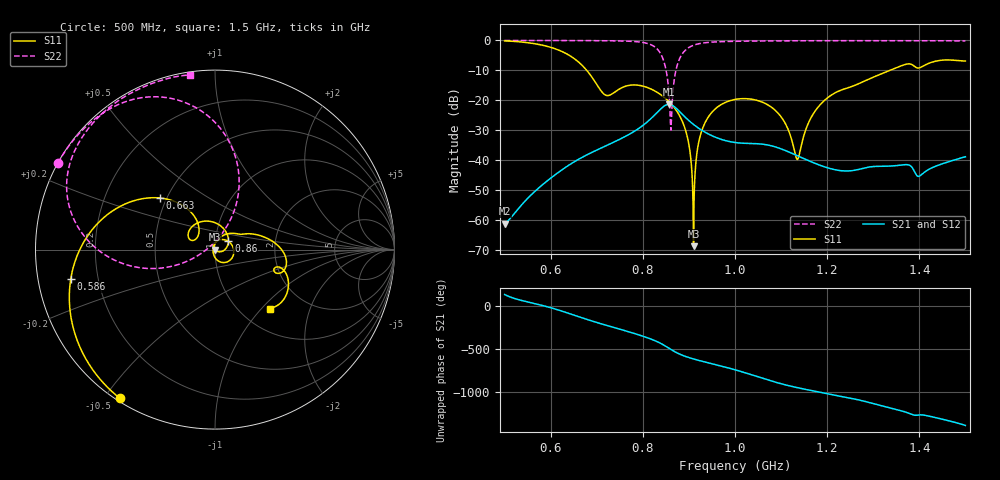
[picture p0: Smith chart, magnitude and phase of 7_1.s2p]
! TOUCHSTONE file generated by CST MICROWAVE STUDIO
! Date and time: Fri Oct  2 18:47:16 2020
! Project name: Scenario_1_Free_Space_out_of_line.cst
! Parameters = {Lambda=346.42; Step_1=17.321; dy1=243.594; dx1=173; L_HA=400; MT=2.54; Rad_Dielectric=30; Rad_Lower=7.3; Rad_Upper=30; a_HA=580; a_WG=246; b_HA=500; b_WG=121; c_HA=0; c_WG=187; d_feed=85; h_feed=15; h_lower=18; h_upper=40}
! Header version: 2018
! Port assignment regex: !\s*Touchstone port\s*([0-9]+)\s*=\s*(CST MWS port|CST DS port)\s*([0-9]+|Zmin|Zmax)\s*\(\"(.*)\"\)(\s*mode\s*([0-9]+))?.*
! Touchstone port assignment:
! Touchstone port 1 = CST MWS port 1 ("")
! Touchstone port 2 = CST MWS port 2 ("")
# GHz S DB R 50
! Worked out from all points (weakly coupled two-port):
!   1003 points, 500 MHz to 1.5 GHz, reference 50 ohm
!   highest |S21| = -21.36 dB at 856 MHz (marker M1); lowest = -61.1 dB at 500 MHz (marker M2)
!   lowest |S11| = -68.7 dB at 910 MHz (marker M3), VSWR 1.00, Z = 50 + j0.0268 ohm
!   |S11| at or under -10 dB: 678.2 MHz to 1.336 GHz (657.7 MHz wide, 65.3 % of centre)
!   |S22| runs from -30.0 to 0.0 dB; largest |S21 - S12| = 3.3e-05
!   S11 on the Smith chart (normalised r, x): 500 MHz: 0.01, -0.55; 586 MHz: 0.10, -0.10; 663 MHz: 0.46, +0.32; 860 MHz: 1.16, +0.12; 1.5 GHz: 1.35, -1.13
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0.5  -0.15 -122.6  -61.14 138.0  -61.14 138.0  -0.01 151.2
0.586  -1.73 -168.6  -47.71 4.7  -47.71 4.7  -0.01 145.2
0.663  -7.56 136.7  -39.48 -124.8  -39.48 -124.8  -0.04 138.8
0.667  -8.13 134.0  -39.14 -132.0  -39.14 -132.0  -0.04 138.4
0.72  -18.32 141.3  -35.18 140.1  -35.18 140.1  -0.10 132.4
0.789  -14.93 127.0  -29.61 31.2  -29.61 31.2  -0.45 117.7
0.834  -17.61 72.7  -23.59 -59.3  -23.59 -59.3  -3.37 87.7
0.848  -19.19 52.4  -21.75 -100.0  -21.75 -100.0  -8.30 69.6
0.856  -20.30 40.0  -21.36 -126.7  -21.36 -126.7  -16.32 62.9
0.86  -20.93 33.6  -21.43 -140.1  -21.43 -140.1  -27.98 95.4
0.875  -23.91 8.4  -23.02 174.7  -23.02 174.7  -8.07 -164.6
0.894  -30.68 -25.1  -25.93 132.9  -25.93 132.9  -3.02 176.2
0.91  -68.71 46.8  -28.07 106.0  -28.07 106.0  -1.60 165.2
0.921  -34.20 105.3  -29.31 89.7  -29.31 89.7  -1.12 159.6
0.935  -27.47 83.0  -30.65 70.3  -30.65 70.3  -0.77 154.2
1  -19.71 2.1  -34.08 -20.2  -34.08 -20.2  -0.29 140.6
1.087  -23.29 -71.9  -35.53 -163.9  -35.53 -163.9  -0.15 131.1
1.135  -39.74 177.1  -38.48 131.5  -38.48 131.4  -0.11 127.0
1.167  -25.25 76.6  -40.63 95.8  -40.63 95.8  -0.10 124.4
1.334  -10.12 10.0  -41.97 -101.1  -41.97 -101.1  -0.09 111.7
1.399  -9.19 -17.4  -45.38 172.6  -45.38 172.6  -0.10 106.6
1.5  -6.88 -47.0  -38.84 49.9  -38.84 49.7  -0.14 98.1
